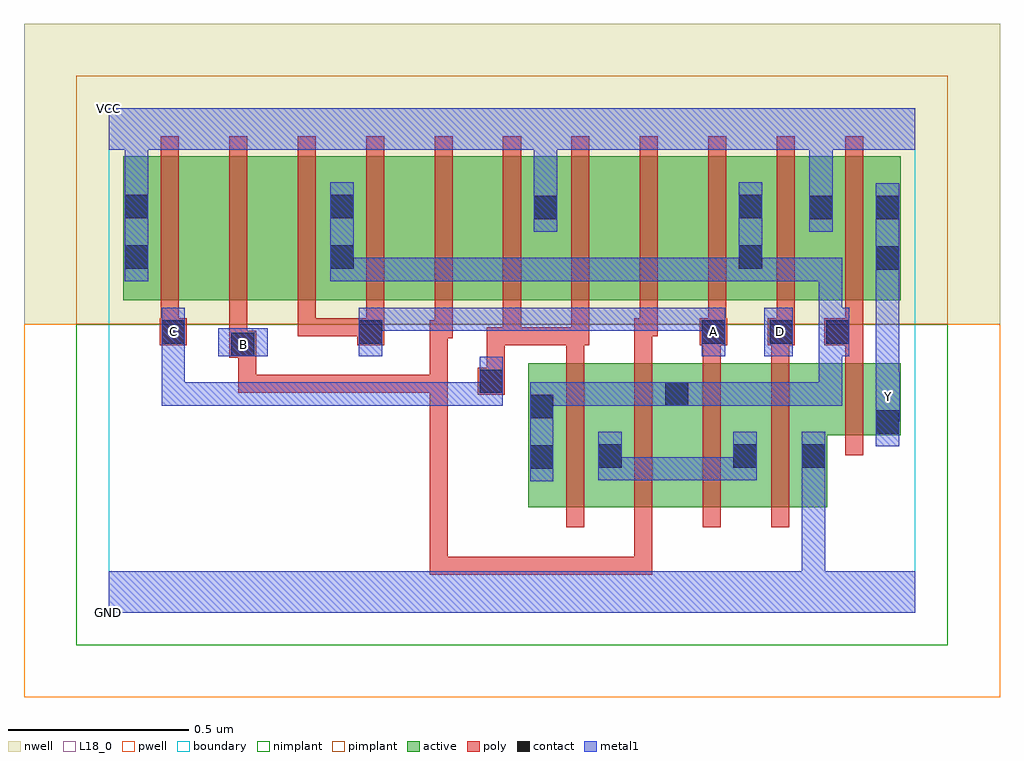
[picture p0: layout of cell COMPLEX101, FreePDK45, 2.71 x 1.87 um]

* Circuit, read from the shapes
.subckt COMPLEX101 A B C D GND VCC Y
M1 n1 C n2 VSUBS nfet w=0.4u l=0.05u
M2 n2 B n1 VSUBS nfet w=0.4u l=0.05u
M3 n1 A n2 VSUBS nfet w=0.4u l=0.05u
M4 GND D n1 VSUBS nfet w=0.4u l=0.05u
M5 Y n2 GND VSUBS nfet w=0.2u l=0.05u
M6 n3 C VCC n4 pfet w=0.4u l=0.05u
M7 n5 B n3 n4 pfet w=0.4u l=0.05u
M8 n2 A n5 n4 pfet w=0.4u l=0.05u
M9 n6 A n2 n4 pfet w=0.4u l=0.05u
M10 n7 B n6 n4 pfet w=0.4u l=0.05u
M11 VCC C n7 n4 pfet w=0.4u l=0.05u
M12 n8 C VCC n4 pfet w=0.4u l=0.05u
M13 n9 B n8 n4 pfet w=0.4u l=0.05u
M14 n2 A n9 n4 pfet w=0.4u l=0.05u
M15 VCC D n2 n4 pfet w=0.4u l=0.05u
M16 Y n2 VCC n4 pfet w=0.4u l=0.05u
.ends

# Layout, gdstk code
import gdstk
lib = gdstk.Library(unit=1e-6, precision=1e-09)
def R(c, l, rs):  # rectangles x0, y0, x1, y1
    for r in rs: c.add(gdstk.rectangle(r[:2], r[2:], *l))
def A(c, l, x, y, w, h, nx, ny, dx, dy):  # array of equal rectangles
    R(c, l, [(x+i*dx, y+j*dy, x+i*dx+w, y+j*dy+h) for i in range(nx) for j in range(ny)])
active = (1, 0)
pwell = (2, 0)
nwell = (3, 0)
nimplant = (4, 0)
pimplant = (5, 0)
poly = (9, 0)
contact = (10, 0)
metal1 = (11, 0)
L18_0 = (18, 0)
boundary = (235, 0)

complex101 = lib.new_cell('COMPLEX101')
A(complex101, active, 0.265, 0.867, 0.19, 0.4, 3, 1, 0.57, 0)
R(complex101, active, [(1.165,0.292,1.43,0.692), (1.165,0.292,1.24,0.692), (1.355,0.292,1.615,0.692), (1.355,0.292,1.43,0.537), (1.54,0.292,1.805,0.692), (1.73,0.292,1.995,0.692), (1.92,0.292,1.995,0.597), (1.54,0.33,1.615,0.692), (1.73,0.332,1.805,0.597), (1.92,0.492,2.2,0.692), (2.125,0.492,2.2,0.692), (0.04,0.867,0.115,1.267), (0.04,0.867,0.265,1.267), (0.455,0.867,0.685,1.267), (0.61,0.867,0.685,1.2), (0.61,0.867,0.835,1.267), (1.025,0.867,1.25,1.267), (1.175,0.867,1.25,1.267), (1.175,0.867,1.405,1.267), (1.595,0.867,1.82,1.267), (1.745,0.867,1.82,1.2), (1.745,0.867,2.015,1.267), (1.94,0.867,2.2,1.267), (1.94,0.867,2.015,1.267), (2.125,0.867,2.2,1.2)])
R(complex101, pwell, [(-0.235,-0.235,2.475,0.8)])
R(complex101, nwell, [(-0.235,0.8,2.475,1.635)])
R(complex101, nimplant, [(-0.09,-0.09,2.33,0.8)])
R(complex101, pimplant, [(-0.09,0.8,2.33,1.49)])
A(complex101, poly, 1.27, 0.237, 0.05, 0.51, 4, 1, 0.19, 0)
A(complex101, poly, 1.475, 0.767, 0.05, 0.095, 4, 1, 0.19, 0)
A(complex101, poly, 0.145, 0.812, 0.05, 0.51, 11, 1, 0.19, 0)
R(complex101, poly, [(0.892,0.105,0.942,0.155), (0.892,0.105,0.942,0.155), (0.892,0.105,0.942,0.155), (0.892,0.105,1.115,0.155), (0.892,0.105,0.942,0.66), (1.065,0.105,1.115,0.155), (1.065,0.105,1.115,0.155), (1.065,0.105,1.115,0.155), (1.065,0.105,1.115,0.155), (1.065,0.105,1.115,0.155), (1.065,0.105,1.377,0.155), (1.327,0.105,1.377,0.155), (1.327,0.105,1.51,0.155), (1.46,0.105,1.51,0.287), (1.46,0.105,1.51,0.155), (1.46,0.105,1.51,0.155), (1.46,0.105,1.51,0.155), (2.045,0.437,2.095,0.747), (1.025,0.605,1.1,0.68), (0.36,0.61,0.41,0.66), (0.36,0.61,0.41,0.66), (0.36,0.61,0.41,0.66), (0.36,0.61,0.41,0.66), (0.36,0.61,0.41,0.66), (0.36,0.61,0.542,0.66), (0.36,0.61,0.41,0.757), (0.492,0.61,0.542,0.66), (0.492,0.61,0.542,0.66), (0.492,0.61,0.542,0.66), (0.492,0.61,0.785,0.66), (0.735,0.61,0.785,0.66), (0.735,0.61,0.785,0.66), (0.735,0.61,0.785,0.66), (0.735,0.61,0.942,0.66), (0.892,0.61,0.942,0.66), (0.892,0.61,0.942,0.66), (0.892,0.61,0.942,0.66), (0.892,0.61,0.942,0.812), (1.05,0.63,1.1,0.792), (1.27,0.697,1.32,0.792), (1.46,0.697,1.51,0.817), (1.65,0.697,1.7,0.792), (1.84,0.697,1.89,0.792), (2.045,0.697,2.095,0.792), (0.335,0.707,0.41,0.782), (0.335,0.732,0.385,0.862), (0.142,0.742,0.217,0.817), (0.69,0.742,0.765,0.817), (1.05,0.742,1.115,0.792), (1.065,0.742,1.115,0.792), (1.065,0.742,1.145,0.792), (1.095,0.742,1.145,0.862), (1.095,0.742,1.32,0.792), (1.27,0.742,1.335,0.792), (1.27,0.742,1.32,0.792), (1.27,0.742,1.32,0.792), (1.285,0.742,1.335,0.862), (1.642,0.742,1.717,0.817), (1.83,0.742,1.905,0.817), (1.987,0.742,2.095,0.817), (0.892,0.762,0.942,0.812), (0.892,0.762,0.942,0.812), (0.892,0.762,0.955,0.812), (0.905,0.762,0.955,0.862), (0.145,0.767,0.195,0.862), (0.525,0.767,0.575,0.862), (0.525,0.767,0.575,0.817), (0.525,0.767,0.575,0.817), (0.525,0.767,0.575,0.817), (0.525,0.767,0.74,0.817), (0.715,0.767,0.765,0.862), (1.46,0.767,1.525,0.817)])
R(complex101, contact, [(1.17,0.4,1.235,0.465), (1.36,0.402,1.425,0.467), (1.735,0.402,1.8,0.467), (1.925,0.402,1.99,0.467), (2.13,0.497,2.195,0.562), (1.17,0.54,1.235,0.605), (1.545,0.575,1.61,0.64), (1.03,0.61,1.095,0.675), (0.34,0.712,0.405,0.777), (0.147,0.747,0.212,0.812), (0.695,0.747,0.76,0.812), (1.647,0.747,1.712,0.812), (1.835,0.747,1.9,0.812), (1.992,0.747,2.057,0.812), (2.13,0.952,2.195,1.017), (0.045,0.955,0.11,1.02), (0.615,0.955,0.68,1.02), (1.75,0.955,1.815,1.02), (1.18,1.092,1.245,1.157), (1.945,1.092,2.01,1.157), (2.13,1.092,2.195,1.157), (0.045,1.095,0.11,1.16), (0.615,1.095,0.68,1.16), (1.75,1.095,1.815,1.16)])
R(complex101, metal1, [(0,0,2.24,0.115), (1.925,0.05,1.99,0.115), (1.925,0.05,1.99,0.115), (1.925,0.05,1.99,0.432), (1.17,0.365,1.235,0.64), (1.36,0.367,1.425,0.502), (1.36,0.367,1.437,0.432), (1.372,0.367,1.437,0.432), (1.372,0.367,1.575,0.432), (1.51,0.367,1.575,0.432), (1.51,0.367,1.575,0.432), (1.51,0.367,1.575,0.432), (1.51,0.367,1.8,0.432), (1.735,0.367,1.8,0.502), (1.925,0.367,1.99,0.432), (1.925,0.367,1.99,0.432), (1.925,0.367,1.99,0.502), (2.13,0.462,2.195,0.597), (2.13,0.532,2.195,0.597), (2.13,0.532,2.197,0.667), (0.147,0.575,0.212,0.64), (0.147,0.575,0.212,0.777), (0.147,0.575,0.35,0.64), (0.285,0.575,0.35,0.64), (0.285,0.575,0.35,0.64), (0.285,0.575,0.35,0.64), (0.285,0.575,0.487,0.64), (0.422,0.575,0.487,0.64), (0.422,0.575,0.487,0.64), (0.422,0.575,0.487,0.64), (0.422,0.575,0.787,0.64), (0.722,0.575,0.787,0.64), (0.722,0.575,0.925,0.64), (0.86,0.575,0.925,0.64), (0.86,0.575,0.925,0.64), (0.86,0.575,0.925,0.64), (0.86,0.575,1.062,0.64), (0.997,0.575,1.062,0.64), (0.997,0.575,1.062,0.64), (0.997,0.575,1.062,0.64), (0.997,0.575,1.095,0.64), (1.03,0.575,1.095,0.71), (1.17,0.575,1.235,0.64), (1.17,0.575,1.235,0.64), (1.17,0.575,1.437,0.64), (1.372,0.575,1.437,0.64), (1.372,0.575,1.437,0.64), (1.372,0.575,1.437,0.64), (1.372,0.575,1.575,0.64), (1.51,0.575,1.645,0.64), (1.58,0.575,1.645,0.64), (1.58,0.575,1.645,0.64), (1.58,0.575,1.852,0.64), (1.787,0.575,1.852,0.64), (1.787,0.575,1.852,0.64), (1.787,0.575,1.852,0.64), (1.787,0.575,2.037,0.64), (1.972,0.575,2.037,0.64), (1.972,0.575,2.037,0.777), (2.13,0.602,2.195,0.982), (0.147,0.712,0.212,0.777), (0.147,0.712,0.212,0.777), (0.147,0.712,0.212,0.847), (0.305,0.712,0.442,0.79), (0.695,0.712,0.76,0.847), (1.647,0.712,1.712,0.847), (1.82,0.712,1.9,0.847), (1.972,0.712,2.037,0.777), (1.972,0.712,2.057,0.777), (1.972,0.712,2.037,0.985), (1.992,0.712,2.057,0.847), (0.695,0.782,0.925,0.847), (0.86,0.782,0.925,0.847), (0.86,0.782,0.925,0.847), (0.86,0.782,0.925,0.847), (0.86,0.782,1.062,0.847), (0.997,0.782,1.062,0.847), (0.997,0.782,1.062,0.847), (0.997,0.782,1.062,0.847), (0.997,0.782,1.2,0.847), (1.135,0.782,1.2,0.847), (1.135,0.782,1.3,0.847), (1.235,0.782,1.3,0.847), (1.235,0.782,1.437,0.847), (1.372,0.782,1.437,0.847), (1.372,0.782,1.437,0.847), (1.372,0.782,1.437,0.847), (1.372,0.782,1.575,0.847), (1.51,0.782,1.575,0.847), (1.51,0.782,1.712,0.847), (2.13,0.917,2.195,1.192), (0.045,0.92,0.11,1.195), (0.615,0.92,0.68,1.195), (0.615,0.92,0.68,0.985), (0.615,0.92,0.68,0.985), (0.615,0.92,0.925,0.985), (0.86,0.92,0.925,0.985), (0.86,0.92,0.925,0.985), (0.86,0.92,0.925,0.985), (0.86,0.92,1.062,0.985), (0.997,0.92,1.062,0.985), (0.997,0.92,1.062,0.985), (0.997,0.92,1.062,0.985), (0.997,0.92,1.287,0.985), (1.222,0.92,1.287,0.985), (1.222,0.92,1.3,0.985), (1.235,0.92,1.3,0.985), (1.235,0.92,1.437,0.985), (1.372,0.92,1.437,0.985), (1.372,0.92,1.437,0.985), (1.372,0.92,1.437,0.985), (1.372,0.92,1.575,0.985), (1.51,0.92,1.575,0.985), (1.51,0.92,1.575,0.985), (1.51,0.92,1.575,0.985), (1.51,0.92,1.815,0.985), (1.75,0.92,1.815,1.195), (1.75,0.92,1.815,0.985), (1.75,0.92,1.815,0.985), (1.75,0.92,2.037,0.985), (1.972,0.92,2.037,0.985), (1.18,1.057,1.245,1.192), (1.945,1.057,2.01,1.192), (1.18,1.127,1.245,1.35), (1.945,1.127,2.01,1.35), (0.045,1.13,0.11,1.35), (0,1.285,2.24,1.4)])
R(complex101, L18_0, [(0,0,2.24,0.115), (1.925,0.05,1.99,0.115), (1.925,0.05,1.99,0.115), (1.925,0.05,1.99,0.432), (1.925,0.367,1.99,0.502), (1.925,0.367,1.99,0.432), (1.925,0.367,1.99,0.432), (2.13,0.462,2.195,0.597), (2.13,0.532,2.195,0.597), (2.13,0.532,2.197,0.667), (2.132,0.567,2.197,0.632), (0.147,0.575,0.212,0.64), (0.147,0.575,0.212,0.777), (0.147,0.575,0.35,0.64), (0.285,0.575,0.35,0.64), (0.285,0.575,0.35,0.64), (0.285,0.575,0.35,0.64), (0.285,0.575,0.487,0.64), (0.422,0.575,0.487,0.64), (0.422,0.575,0.487,0.64), (0.422,0.575,0.487,0.64), (0.422,0.575,0.787,0.64), (0.722,0.575,0.787,0.64), (0.722,0.575,0.925,0.64), (0.86,0.575,0.925,0.64), (0.86,0.575,0.925,0.64), (0.86,0.575,0.925,0.64), (0.86,0.575,1.062,0.64), (0.997,0.575,1.062,0.64), (0.997,0.575,1.062,0.64), (0.997,0.575,1.062,0.64), (0.997,0.575,1.095,0.64), (1.03,0.575,1.095,0.71), (2.13,0.602,2.195,0.982), (0.147,0.712,0.212,0.847), (0.147,0.712,0.212,0.777), (0.147,0.712,0.212,0.777), (0.305,0.712,0.442,0.79), (0.342,0.712,0.407,0.777), (0.695,0.712,0.76,0.847), (1.647,0.712,1.712,0.847), (1.82,0.712,1.9,0.847), (0.147,0.747,0.212,0.812), (1.647,0.747,1.712,0.812), (1.832,0.747,1.897,0.812), (0.695,0.782,0.925,0.847), (0.86,0.782,0.925,0.847), (0.86,0.782,0.925,0.847), (0.86,0.782,0.925,0.847), (0.86,0.782,1.062,0.847), (0.997,0.782,1.062,0.847), (0.997,0.782,1.062,0.847), (0.997,0.782,1.062,0.847), (0.997,0.782,1.2,0.847), (1.135,0.782,1.2,0.847), (1.135,0.782,1.3,0.847), (1.235,0.782,1.3,0.847), (1.235,0.782,1.437,0.847), (1.372,0.782,1.437,0.847), (1.372,0.782,1.437,0.847), (1.372,0.782,1.437,0.847), (1.372,0.782,1.575,0.847), (1.51,0.782,1.575,0.847), (1.51,0.782,1.712,0.847), (2.13,0.917,2.195,1.192), (0.045,0.92,0.11,1.195), (1.18,1.057,1.245,1.192), (1.945,1.057,2.01,1.192), (1.18,1.127,1.245,1.35), (1.945,1.127,2.01,1.35), (0.045,1.13,0.11,1.35), (0,1.285,2.24,1.4)])
R(complex101, boundary, [(0,0,2.24,1.4)])
complex101.add(gdstk.Label('A', (1.68,0.78), layer=11, texttype=0))
complex101.add(gdstk.Label('B', (0.375,0.745), layer=11, texttype=0))
complex101.add(gdstk.Label('C', (0.18,0.78), layer=11, texttype=0))
complex101.add(gdstk.Label('D', (1.865,0.78), layer=11, texttype=0))
complex101.add(gdstk.Label('Y', (2.165,0.6), layer=11, texttype=0))
complex101.add(gdstk.Label('VCC', (0,1.4), layer=11, texttype=0))
complex101.add(gdstk.Label('GND', (0,0), layer=11, texttype=0))

lib.write_gds('COMPLEX101.gds')
